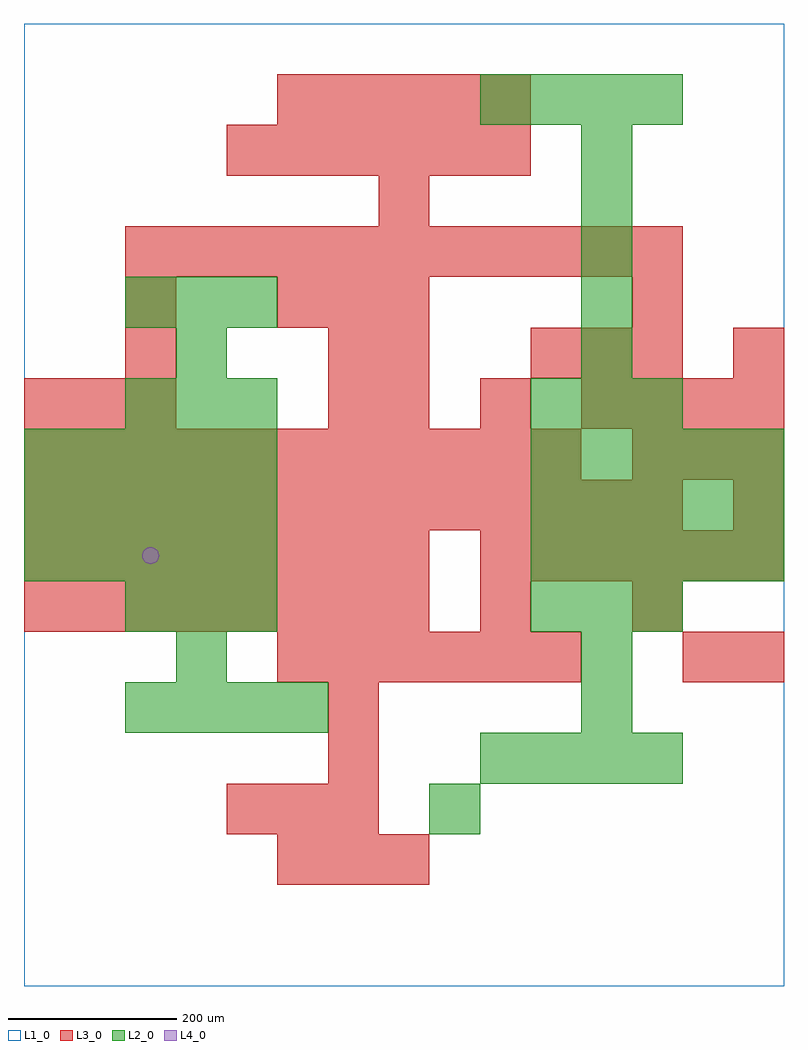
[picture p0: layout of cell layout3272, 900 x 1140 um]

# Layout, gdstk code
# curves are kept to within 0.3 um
import gdstk
lib = gdstk.Library(unit=1e-6, precision=1e-09)
def R(c, l, rs):  # rectangles x0, y0, x1, y1
    for r in rs: c.add(gdstk.rectangle(r[:2], r[2:], *l))
def A(c, l, x, y, w, h, nx, ny, dx, dy):  # array of equal rectangles
    R(c, l, [(x+i*dx, y+j*dy, x+i*dx+w, y+j*dy+h) for i in range(nx) for j in range(ny)])
def P(c, l, *ps):  # polygons
    for p in ps: c.add(gdstk.Polygon(p, *l))
L1_0 = (1, 0)
L2_0 = (2, 0)
L3_0 = (3, 0)
L4_0 = (4, 0)

layout3272 = lib.new_cell('layout3272')
R(layout3272, L1_0, [(0,0,900,1140)])
A(layout3272, L2_0, 540, 240, 60, 60, 4, 2, 60, 780)
A(layout3272, L2_0, 120, 300, 60, 60, 4, 1, 60, 0)
A(layout3272, L2_0, 120, 420, 60, 60, 3, 2, 60, 240)
A(layout3272, L2_0, 600, 420, 60, 60, 3, 2, 60, 240)
A(layout3272, L2_0, 0, 480, 60, 60, 5, 3, 60, 60)
A(layout3272, L2_0, 600, 480, 60, 60, 5, 3, 60, 60)
A(layout3272, L2_0, 660, 720, 60, 60, 1, 5, 0, 60)
A(layout3272, L2_0, 120, 780, 60, 60, 3, 1, 60, 0)
R(layout3272, L2_0, [(480,180,540,240), (660,300,720,360), (180,360,240,420), (660,360,720,420), (180,720,240,780)])
A(layout3272, L3_0, 300, 120, 60, 60, 3, 2, 60, 660)
A(layout3272, L3_0, 240, 180, 60, 60, 3, 1, 60, 0)
A(layout3272, L3_0, 300, 360, 60, 60, 6, 1, 60, 0)
A(layout3272, L3_0, 840, 360, 60, 60, 1, 3, 0, 180)
A(layout3272, L3_0, 0, 420, 60, 60, 8, 2, 60, 60)
A(layout3272, L3_0, 540, 480, 60, 60, 6, 1, 60, 0)
A(layout3272, L3_0, 0, 540, 60, 60, 13, 1, 60, 0)
A(layout3272, L3_0, 0, 600, 60, 60, 11, 1, 60, 0)
A(layout3272, L3_0, 720, 600, 60, 60, 3, 2, 60, 60)
A(layout3272, L3_0, 0, 660, 60, 60, 3, 1, 60, 0)
A(layout3272, L3_0, 420, 660, 60, 60, 3, 1, 120, 0)
A(layout3272, L3_0, 600, 720, 60, 60, 3, 1, 60, 0)
A(layout3272, L3_0, 120, 840, 60, 60, 11, 1, 60, 0)
A(layout3272, L3_0, 240, 960, 60, 60, 6, 1, 60, 0)
A(layout3272, L3_0, 300, 1020, 60, 60, 5, 1, 60, 0)
R(layout3272, L3_0, [(360,240,420,300), (360,300,420,360), (780,360,840,420), (540,420,600,480), (720,420,780,480), (360,660,420,720), (120,720,180,780), (360,720,420,780), (420,720,480,780), (120,780,180,840), (720,780,780,840), (420,900,480,960)])
P(layout3272, L4_0, [(160,510),(159.239,513.827),(157.071,517.071),(153.827,519.239),(150,520),(146.173,519.239),(142.929,517.071),(140.761,513.827),(140,510),(140.761,506.173),(142.929,502.929),(146.173,500.761),(150,500),(153.827,500.761),(157.071,502.929),(159.239,506.173)])

lib.write_gds('layout3272.gds')
